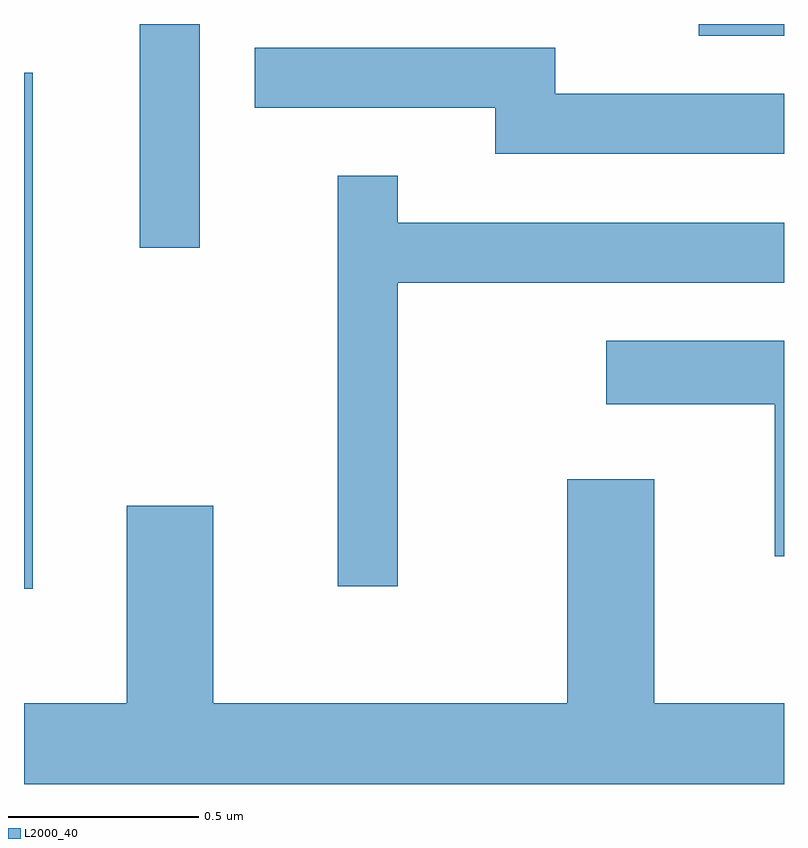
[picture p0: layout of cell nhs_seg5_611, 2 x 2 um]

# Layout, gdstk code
import gdstk
lib = gdstk.Library(unit=1e-6, precision=1e-09)
def R(c, l, rs):  # rectangles x0, y0, x1, y1
    for r in rs: c.add(gdstk.rectangle(r[:2], r[2:], *l))
def P(c, l, *ps):  # polygons
    for p in ps: c.add(gdstk.Polygon(p, *l))
L2000_40 = (2000, 40)

nhs_seg5_611 = lib.new_cell('nhs_seg5_611')
R(nhs_seg5_611, L2000_40, [(189.611,1459.586,189.634,1460.944), (189.916,1460.483,190.074,1461.072), (191.386,1461.041,191.611,1461.072)])
P(nhs_seg5_611, L2000_40, [(191.611,1460.889),(191.009,1460.889),(191.009,1461.009),(190.218,1461.009),(190.218,1460.851),(190.851,1460.851),(190.851,1460.731),(191.611,1460.731)],
  [(190.594,1460.391),(191.611,1460.391),(191.611,1460.549),(190.594,1460.549),(190.594,1460.673),(190.436,1460.673),(190.436,1459.593),(190.594,1459.593)],
  [(191.611,1460.239),(191.143,1460.239),(191.143,1460.071),(191.586,1460.071),(191.586,1459.671),(191.611,1459.671)],
  [(191.611,1459.284),(191.269,1459.284),(191.269,1459.874),(191.041,1459.874),(191.041,1459.284),(190.109,1459.284),(190.109,1459.804),(189.881,1459.804),(189.881,1459.284),(189.611,1459.284),(189.611,1459.072),(191.611,1459.072)])

lib.write_gds('nhs_seg5_611.gds')
